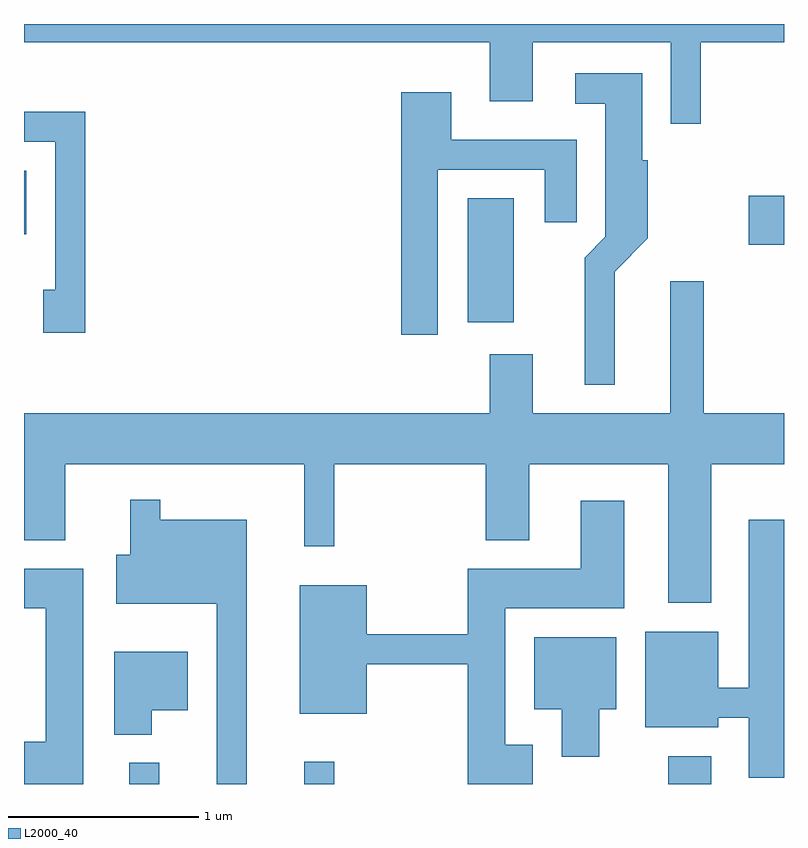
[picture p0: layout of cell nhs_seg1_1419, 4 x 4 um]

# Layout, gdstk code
import gdstk
lib = gdstk.Library(unit=1e-6, precision=1e-09)
def R(c, l, rs):  # rectangles x0, y0, x1, y1
    for r in rs: c.add(gdstk.rectangle(r[:2], r[2:], *l))
def P(c, l, *ps):  # polygons
    for p in ps: c.add(gdstk.Polygon(p, *l))
L2000_40 = (2000, 40)

nhs_seg1_1419 = lib.new_cell('nhs_seg1_1419')
R(nhs_seg1_1419, L2000_40, [(230.166,855.712,230.324,855.823), (231.086,855.712,231.244,855.828), (233.001,855.712,233.229,855.859), (231.946,858.141,232.189,858.794), (233.426,858.551,233.611,858.809), (229.611,858.606,229.624,858.939)])
P(nhs_seg1_1419, L2000_40, [(233.174,859.616),(233.611,859.616),(233.611,859.712),(229.611,859.712),(229.611,859.616),(232.061,859.616),(232.061,859.306),(232.289,859.306),(232.289,859.616),(233.016,859.616),(233.016,859.188),(233.174,859.188)],
  [(232.719,858.409),(232.894,858.584),(232.894,858.994),(232.864,858.994),(232.864,859.454),(232.513,859.454),(232.513,859.291),(232.671,859.291),(232.671,858.592),(232.561,858.482),(232.561,857.813),(232.719,857.813)],
  [(231.789,858.946),(232.351,858.946),(232.351,858.668),(232.519,858.668),(232.519,859.104),(231.859,859.104),(231.859,859.354),(231.596,859.354),(231.596,858.076),(231.789,858.076)],
  [(229.934,859.249),(229.611,859.249),(229.611,859.091),(229.776,859.091),(229.776,858.314),(229.711,858.314),(229.711,858.086),(229.934,858.086)],
  [(229.611,856.996),(229.829,856.996),(229.829,857.396),(231.086,857.396),(231.086,856.963),(231.244,856.963),(231.244,857.396),(232.041,857.396),(232.041,856.996),(232.269,856.996),(232.269,857.396),(233.001,857.396),(233.001,856.666),(233.229,856.666),(233.229,857.396),(233.611,857.396),(233.611,857.664),(233.189,857.664),(233.189,858.359),(233.011,858.359),(233.011,857.664),(232.289,857.664),(232.289,857.974),(232.061,857.974),(232.061,857.664),(229.611,857.664)],
  [(230.784,857.104),(230.329,857.104),(230.329,857.208),(230.171,857.208),(230.171,856.919),(230.096,856.919),(230.096,856.661),(230.626,856.661),(230.626,855.712),(230.784,855.712)],
  [(232.289,855.919),(232.144,855.919),(232.144,856.636),(232.769,856.636),(232.769,857.204),(232.541,857.204),(232.541,856.844),(231.946,856.844),(231.946,856.499),(231.414,856.499),(231.414,856.759),(231.061,856.759),(231.061,856.081),(231.414,856.081),(231.414,856.341),(231.946,856.341),(231.946,855.712),(232.289,855.712)],
  [(233.611,857.104),(233.426,857.104),(233.426,856.219),(233.264,856.219),(233.264,856.514),(232.881,856.514),(232.881,856.011),(233.264,856.011),(233.264,856.061),(233.426,856.061),(233.426,855.746),(233.611,855.746)],
  [(229.924,856.844),(229.611,856.844),(229.611,856.636),(229.726,856.636),(229.726,855.934),(229.611,855.934),(229.611,855.712),(229.924,855.712)],
  [(232.639,856.106),(232.729,856.106),(232.729,856.484),(232.296,856.484),(232.296,856.106),(232.441,856.106),(232.441,855.856),(232.639,855.856)],
  [(230.284,856.101),(230.474,856.101),(230.474,856.409),(230.086,856.409),(230.086,855.971),(230.284,855.971)])

lib.write_gds('nhs_seg1_1419.gds')
